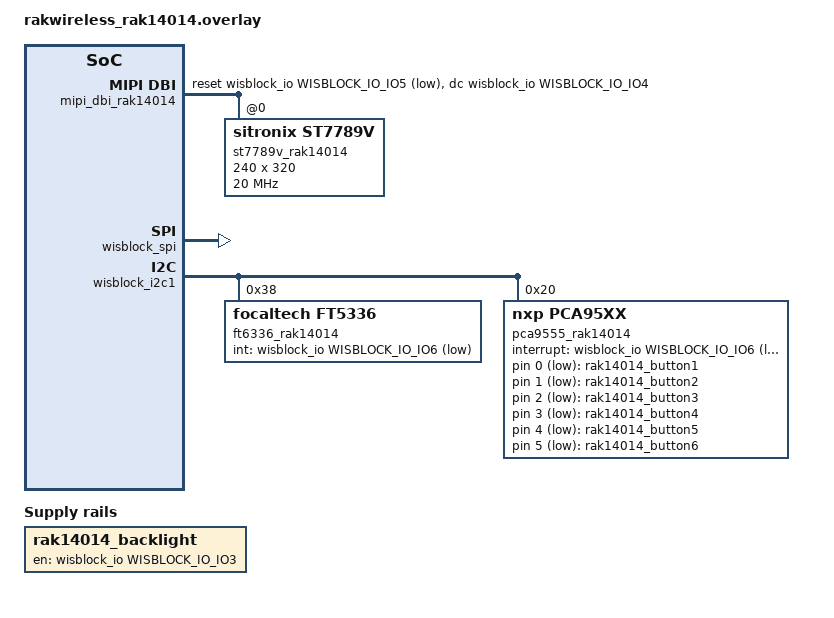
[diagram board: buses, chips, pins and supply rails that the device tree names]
/*
 * SPDX-License-Identifier: Apache-2.0
 * Copyright (c) 2026 RAKwireless Technology Limited
 */

#include <zephyr/dt-bindings/gpio/gpio.h>
#include <zephyr/dt-bindings/gpio/wisblock-io-slot.h>
#include <zephyr/dt-bindings/input/input-event-codes.h>
#include <zephyr/dt-bindings/mipi_dbi/mipi_dbi.h>
#include <zephyr/dt-bindings/display/panel.h>

/ {
	chosen {
		zephyr,display = &st7789v_rak14014;
	};

	rak14014_backlight: rak14014-backlight {
		compatible = "regulator-fixed";
		regulator-name = "rak14014-backlight";
		enable-gpios = <&wisblock_io WISBLOCK_IO_IO3 GPIO_ACTIVE_HIGH>;
		regulator-boot-on;
	};

	mipi_dbi_rak14014: rak14014-mipi-dbi {
		compatible = "zephyr,mipi-dbi-spi";
		spi-dev = <&wisblock_spi>;
		dc-gpios = <&wisblock_io WISBLOCK_IO_IO4 GPIO_ACTIVE_HIGH>;
		reset-gpios = <&wisblock_io WISBLOCK_IO_IO5 GPIO_ACTIVE_LOW>;
		write-only;
		#address-cells = <1>;
		#size-cells = <0>;

		st7789v_rak14014: st7789v@0 {
			compatible = "sitronix,st7789v";
			reg = <0>;
			mipi-max-frequency = <20000000>;
			mipi-mode = "MIPI_DBI_MODE_SPI_4WIRE";
			width = <240>;
			height = <320>;
			x-offset = <0>;
			y-offset = <0>;
			vcom = <0x19>;
			gctrl = <0x35>;
			vrhs = <0x12>;
			vdvs = <0x20>;
			mdac = <0x00>;
			gamma = <0x01>;
			lcm = <0x2c>;
			pixel-format = <PANEL_PIXEL_FORMAT_RGB_565>;
			porch-param = [0c 0c 00 33 33];
			cmd2en-param = [5a 69 02 01];
			pwctrl1-param = [a4 a1];
			pvgam-param = [d0 04 0d 11 13 2b 3f 54 4c 18 0d 0b 1f 23];
			nvgam-param = [d0 04 0c 11 13 2c 3f 44 51 2f 1f 1f 20 23];
			ram-param = [00 f0];
			rgb-param = [cd 08 14];
		};
	};
};

&wisblock_spi {
	status = "okay";
};

&wisblock_i2c1 {
	status = "okay";

	ft6336_rak14014: ft6336@38 {
		compatible = "focaltech,ft5336";
		reg = <0x38>;
		int-gpios = <&wisblock_io WISBLOCK_IO_IO6 GPIO_ACTIVE_LOW>;
	};

	pca9555_rak14014: pca9555@20 {
		compatible = "nxp,pca95xx";
		reg = <0x20>;
		gpio-controller;
		#gpio-cells = <2>;
		ngpios = <16>;
		interrupt-gpios = <&wisblock_io WISBLOCK_IO_IO6 GPIO_ACTIVE_LOW>;
	};
};

/ {
	rak14014-keys {
		compatible = "gpio-keys";

		rak14014_button1: button-0 {
			gpios = <&pca9555_rak14014 0 GPIO_ACTIVE_LOW>;
			zephyr,code = <INPUT_KEY_0>;
		};

		rak14014_button2: button-1 {
			gpios = <&pca9555_rak14014 1 GPIO_ACTIVE_LOW>;
			zephyr,code = <INPUT_KEY_1>;
		};

		rak14014_button3: button-2 {
			gpios = <&pca9555_rak14014 2 GPIO_ACTIVE_LOW>;
			zephyr,code = <INPUT_KEY_2>;
		};

		rak14014_button4: button-3 {
			gpios = <&pca9555_rak14014 3 GPIO_ACTIVE_LOW>;
			zephyr,code = <INPUT_KEY_3>;
		};

		rak14014_button5: button-4 {
			gpios = <&pca9555_rak14014 4 GPIO_ACTIVE_LOW>;
			zephyr,code = <INPUT_KEY_4>;
		};

		rak14014_button6: button-5 {
			gpios = <&pca9555_rak14014 5 GPIO_ACTIVE_LOW>;
			zephyr,code = <INPUT_KEY_5>;
		};
	};
};
